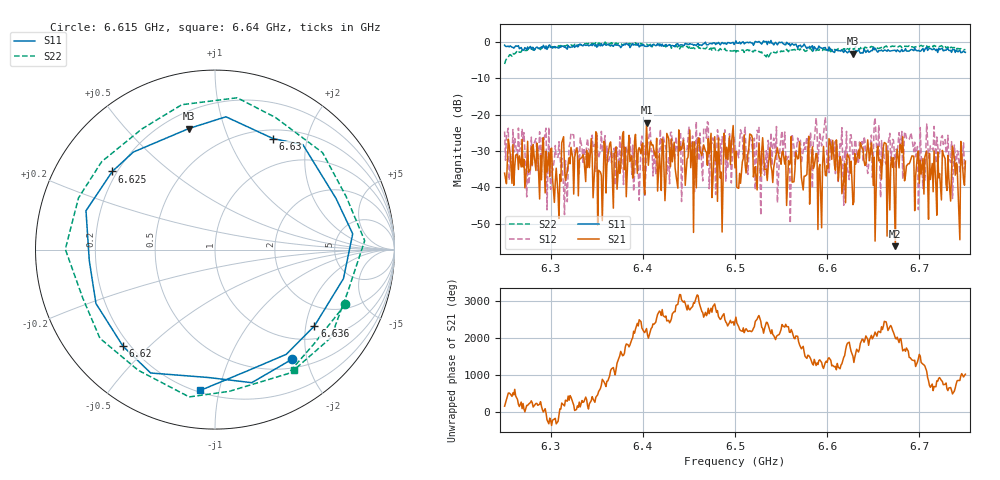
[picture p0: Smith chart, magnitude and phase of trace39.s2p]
# Hz S RI R 50
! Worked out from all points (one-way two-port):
!   401 points, 6.25 GHz to 6.75 GHz, reference 50 ohm
!   highest |S21| = -22.24 dB at 6.404 GHz (marker M1); lowest = -56.2 dB at 6.674 GHz (marker M2)
!   lowest |S11| = -3.2 dB at 6.628 GHz (marker M3), VSWR 5.45, Z = 14.8 + j38.2 ohm
!   |S11| at or under -10 dB: nowhere
!   |S22| runs from -6.1 to -0.1 dB; largest |S21 - S12| = 0.11
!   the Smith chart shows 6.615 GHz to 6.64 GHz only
!   S11 on the Smith chart (normalised r, x): 6.615 GHz: 0.64, -1.75; 6.62 GHz: 0.17, -0.42; 6.625 GHz: 0.18, +0.33; 6.63 GHz: 0.61, +1.47; 6.636 GHz: 1.35, -2.24; 6.64 GHz: 0.21, -0.88
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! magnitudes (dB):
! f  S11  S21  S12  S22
! 6.25 GHz  -0.9  -36.1  -24.6  -6.1
! 6.308 GHz  -1.7  -42.0  -31.7  -1.3
! 6.316 GHz  -1.5  -38.0  -32.6  -1.2
! 6.322 GHz  -1.4  -29.0  -25.0  -0.9
! 6.334 GHz  -1.0  -31.8  -29.1  -0.8
! 6.354 GHz  -1.1  -35.8  -29.8  -0.6
! 6.364 GHz  -1.1  -28.1  -31.9  -0.7
! 6.404 GHz  -1.3  -22.2  -32.1  -0.6
! 6.418 GHz  -1.1  -30.7  -29.7  -0.6
! 6.5 GHz  -0.4  -34.6  -27.8  -2.0
! 6.53 GHz  -0.2  -26.3  -30.8  -3.4
! 6.584 GHz  -1.1  -28.9  -40.3  -2.5
! 6.615 GHz  -2.5  -32.4  -28.7  -2.1
! 6.62 GHz  -2.6  -44.2  -32.3  -1.6
! 6.625 GHz  -2.9  -36.1  -25.6  -1.6
! 6.628 GHz  -3.2  -44.7  -31.7  -1.9
! 6.63 GHz  -3.1  -30.7  -27.0  -1.6
! 6.636 GHz  -3.1  -27.7  -28.2  -1.6
! 6.64 GHz  -2.1  -32.7  -26.0  -1.9
! 6.668 GHz  -2.6  -46.2  -25.1  -1.2
! 6.674 GHz  -2.4  -56.2  -34.8  -1.2
! 6.75 GHz  -2.9  -32.8  -33.3  -2.1
